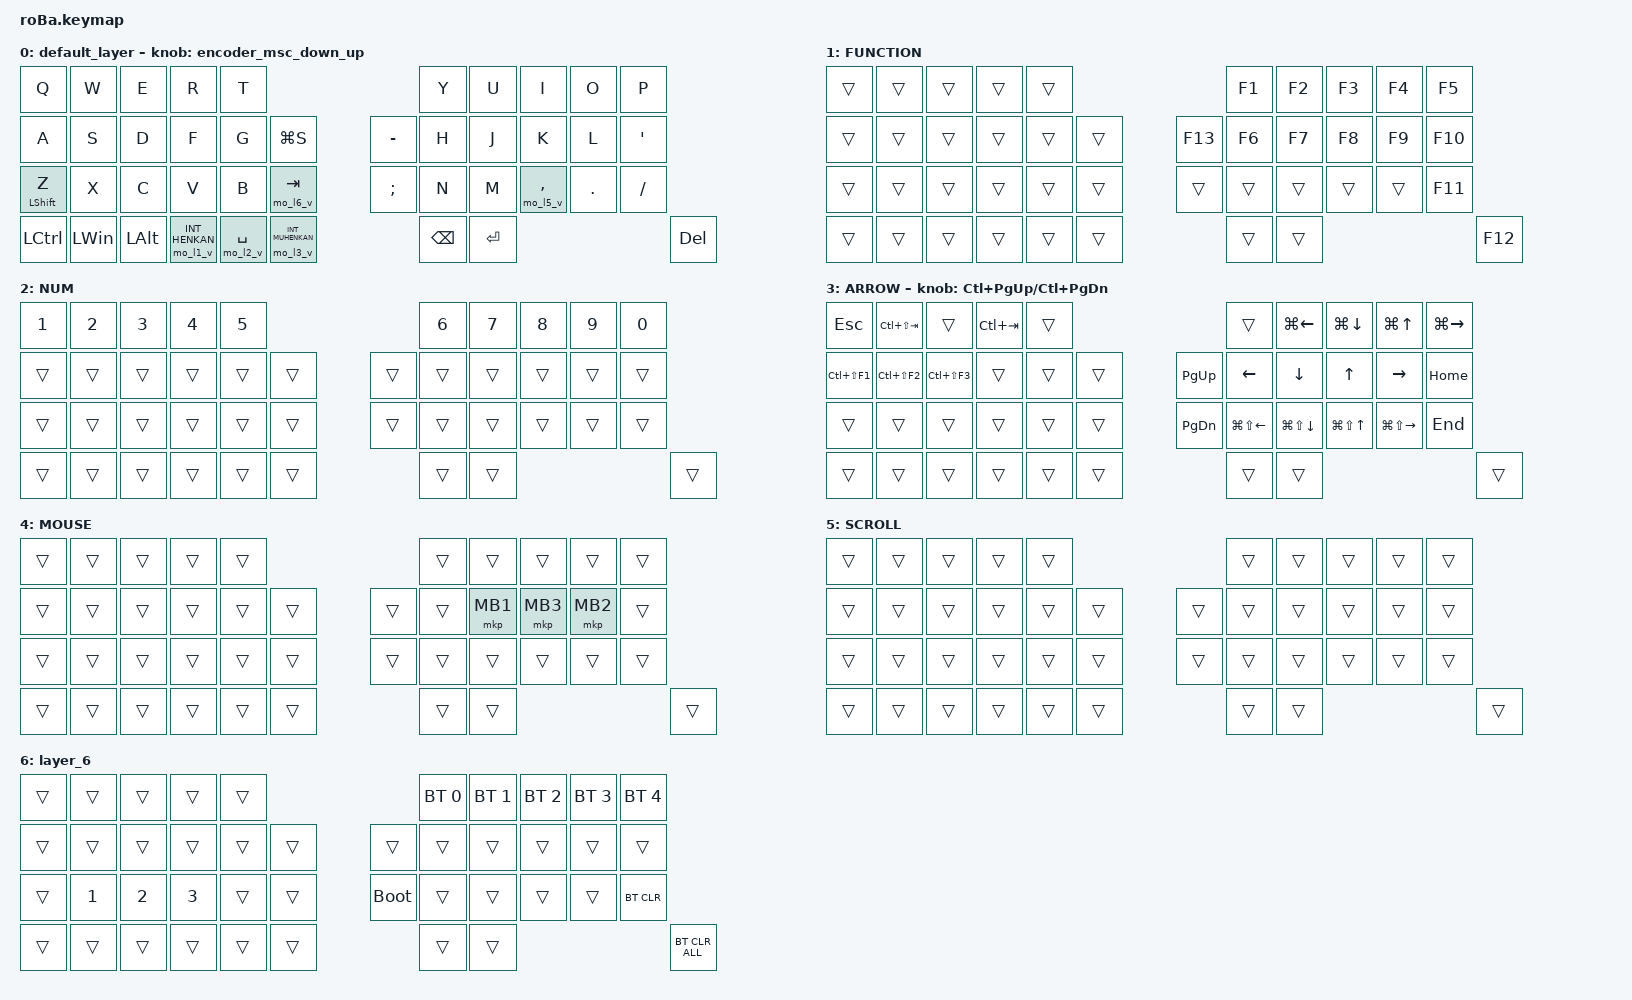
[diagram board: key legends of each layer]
#include <behaviors.dtsi>
#include <dt-bindings/zmk/bt.h>
#include <dt-bindings/zmk/keys.h>
#include <dt-bindings/zmk/pointing.h>

#define ZMK_POINTING_DEFAULT_SCRL_VAL 80

&mt {
    flavor = "balanced";
    quick-tap-ms = <0>;
};

&trackball {
    automouse-layer = <4>;
    scroll-layers = <5>;
};

/ {
    behaviors {
        encoder_msc_down_up: encoder_msc_down_up {
            compatible = "zmk,behavior-sensor-rotate";
            label = "ENCODER_MSC_DOWN_UP";
            #sensor-binding-cells = <0>;
            bindings = <&msc SCRL_DOWN>, <&msc SCRL_UP>;
            tap-ms = <20>;
        };

        // Hold 中に &mo N と F<XX> を同時に press する macro。
        // Host 側の keymap viewer は HID 経由で F-key を見て active layer を判定する。
        // F19=L1, F21=L2, F22=L3, F23=L5, F24=L6。
        // F20 は XKB evdev layout で XF86AudioMicMute に historical remap される
        //   (Hyprland bind 経由で wpctl が発火し OSD が出る) ので避ける。
        // F21-F24 は XF86Touchpad* にマップされるが Hyprland 側 bind がなく無害。
        // F19 は remap なしの素通し。L4 (auto-mouse) はドライバ経由のため対象外。
        mo_l1_v: mo_layer_1_visible {
            compatible = "zmk,behavior-macro-one-param";
            #binding-cells = <1>;
            wait-ms = <0>;
            tap-ms = <0>;
            bindings = <&macro_press &mo 1>,
                       <&macro_press &kp F19>,
                       <&macro_pause_for_release>,
                       <&macro_release &kp F19>,
                       <&macro_release &mo 1>;
        };
        mo_l2_v: mo_layer_2_visible {
            compatible = "zmk,behavior-macro-one-param";
            #binding-cells = <1>;
            wait-ms = <0>;
            tap-ms = <0>;
            bindings = <&macro_press &mo 2>,
                       <&macro_press &kp F21>,
                       <&macro_pause_for_release>,
                       <&macro_release &kp F21>,
                       <&macro_release &mo 2>;
        };
        mo_l3_v: mo_layer_3_visible {
            compatible = "zmk,behavior-macro-one-param";
            #binding-cells = <1>;
            wait-ms = <0>;
            tap-ms = <0>;
            bindings = <&macro_press &mo 3>,
                       <&macro_press &kp F22>,
                       <&macro_pause_for_release>,
                       <&macro_release &kp F22>,
                       <&macro_release &mo 3>;
        };
        mo_l5_v: mo_layer_5_visible {
            compatible = "zmk,behavior-macro-one-param";
            #binding-cells = <1>;
            wait-ms = <0>;
            tap-ms = <0>;
            bindings = <&macro_press &mo 5>,
                       <&macro_press &kp F23>,
                       <&macro_pause_for_release>,
                       <&macro_release &kp F23>,
                       <&macro_release &mo 5>;
        };
        mo_l6_v: mo_layer_6_visible {
            compatible = "zmk,behavior-macro-one-param";
            #binding-cells = <1>;
            wait-ms = <0>;
            tap-ms = <0>;
            bindings = <&macro_press &mo 6>,
                       <&macro_press &kp F24>,
                       <&macro_pause_for_release>,
                       <&macro_release &kp F24>,
                       <&macro_release &mo 6>;
        };

        // 第一引数は dummy (macro 側で無視)。第二引数が tap 時の keycode。
        // 上流 &lt と同じ flavor / tapping-term / quick-tap で挙動を維持。
        lt_v_1: layer_tap_visible_1 {
            compatible = "zmk,behavior-hold-tap";
            flavor = "tap-preferred";
            tapping-term-ms = <200>;
            quick-tap-ms = <0>;
            bindings = <&mo_l1_v>, <&kp>;
            #binding-cells = <2>;
        };
        lt_v_2: layer_tap_visible_2 {
            compatible = "zmk,behavior-hold-tap";
            flavor = "tap-preferred";
            tapping-term-ms = <200>;
            quick-tap-ms = <0>;
            bindings = <&mo_l2_v>, <&kp>;
            #binding-cells = <2>;
        };
        lt_v_3: layer_tap_visible_3 {
            compatible = "zmk,behavior-hold-tap";
            flavor = "tap-preferred";
            tapping-term-ms = <200>;
            quick-tap-ms = <0>;
            bindings = <&mo_l3_v>, <&kp>;
            #binding-cells = <2>;
        };
        lt_v_5: layer_tap_visible_5 {
            compatible = "zmk,behavior-hold-tap";
            flavor = "tap-preferred";
            tapping-term-ms = <200>;
            quick-tap-ms = <0>;
            bindings = <&mo_l5_v>, <&kp>;
            #binding-cells = <2>;
        };
        lt_v_6: layer_tap_visible_6 {
            compatible = "zmk,behavior-hold-tap";
            flavor = "tap-preferred";
            tapping-term-ms = <200>;
            quick-tap-ms = <0>;
            bindings = <&mo_l6_v>, <&kp>;
            #binding-cells = <2>;
        };
    };

    keymap {
        compatible = "zmk,keymap";

        default_layer {
            bindings = <
&kp Q             &kp W         &kp E         &kp R              &kp T                                                          &kp Y          &kp U  &kp I          &kp O    &kp P
&kp A             &kp S         &kp D         &kp F              &kp G        &kp LG(S)                          &kp MINUS      &kp H          &kp J  &kp K          &kp L    &kp SQT
&mt LEFT_SHIFT Z  &kp X         &kp C         &kp V                  &kp B            &lt_v_6 0 TAB                          &kp SEMICOLON  &kp N          &kp M  &lt_v_5 0 COMMA  &kp DOT  &kp SLASH
&kp LCTRL         &kp LEFT_WIN  &kp LEFT_ALT  &lt_v_1 0 INT_HENKAN   &lt_v_2 0 SPACE  &lt_v_3 0 INT_MUHENKAN                 &kp BACKSPACE  &kp ENTER                                          &kp DEL
            >;

            sensor-bindings = <&encoder_msc_down_up>;
        };

        FUNCTION {
            bindings = <
&trans  &trans  &trans  &trans  &trans                       &kp F1  &kp F2  &kp F3  &kp F4  &kp F5
&trans  &trans  &trans  &trans  &trans  &trans      &kp F13  &kp F6  &kp F7  &kp F8  &kp F9  &kp F10
&trans  &trans  &trans  &trans  &trans  &trans      &trans   &trans  &trans  &trans  &trans  &kp F11
&trans  &trans  &trans  &trans  &trans  &trans      &trans   &trans                          &kp F12
            >;
        };

        NUM {
            bindings = <
&kp NUMBER_1  &kp NUMBER_2  &kp NUMBER_3  &kp NUMBER_4  &kp NUMBER_5                                              &kp NUMBER_6  &kp NUMBER_7  &kp NUMBER_8  &kp NUMBER_9  &kp NUMBER_0
&trans        &trans        &trans        &trans        &trans        &trans                       &trans         &trans        &trans        &trans        &trans        &trans
&trans        &trans        &trans        &trans        &trans        &trans                       &trans         &trans        &trans        &trans        &trans        &trans
&trans        &trans        &trans        &trans        &trans        &trans                       &trans         &trans                                                  &trans
            >;
        };

        ARROW {
            bindings = <
&kp ESCAPE      &kp LC(LS(TAB))  &trans          &kp LC(TAB)  &trans                                                       &trans           &kp LG(LEFT)      &kp LG(DOWN)      &kp LG(UP)      &kp LG(RIGHT)
&kp LC(LS(F1))  &kp LC(LS(F2))   &kp LC(LS(F3))  &trans       &trans  &trans                              &kp PAGE_UP      &kp LEFT          &kp DOWN          &kp UP          &kp RIGHT          &kp HOME
&trans          &trans           &trans          &trans       &trans  &trans                              &kp PAGE_DOWN    &kp LG(LS(LEFT))  &kp LG(LS(DOWN))  &kp LG(LS(UP))  &kp LG(LS(RIGHT))  &kp END
&trans          &trans           &trans          &trans       &trans  &trans                              &trans           &trans                                                                 &trans
            >;

            sensor-bindings = <&inc_dec_kp LC(PAGE_UP) LC(PAGE_DOWN)>;
        };

        MOUSE {
            bindings = <
&trans  &trans  &trans  &trans  &trans                      &trans  &trans    &trans    &trans    &trans
&trans  &trans  &trans  &trans  &trans  &trans      &trans  &trans  &mkp MB1  &mkp MB3  &mkp MB2  &trans
&trans  &trans  &trans  &trans  &trans  &trans      &trans  &trans  &trans    &trans    &trans    &trans
&trans  &trans  &trans  &trans  &trans  &trans      &trans  &trans                                &trans
            >;
        };

        SCROLL {
            bindings = <
&trans  &trans  &trans  &trans  &trans                      &trans  &trans  &trans  &trans  &trans
&trans  &trans  &trans  &trans  &trans  &trans      &trans  &trans  &trans  &trans  &trans  &trans
&trans  &trans  &trans  &trans  &trans  &trans      &trans  &trans  &trans  &trans  &trans  &trans
&trans  &trans  &trans  &trans  &trans  &trans      &trans  &trans                          &trans
            >;
        };

        layer_6 {
            bindings = <
&trans  &trans        &trans        &trans        &trans                           &bt BT_SEL 0  &bt BT_SEL 1  &bt BT_SEL 2  &bt BT_SEL 3  &bt BT_SEL 4
&trans  &trans        &trans        &trans        &trans  &trans      &trans       &trans        &trans        &trans        &trans        &trans
&trans  &kp NUMBER_1  &kp NUMBER_2  &kp NUMBER_3  &trans  &trans      &bootloader  &trans        &trans        &trans        &trans        &bt BT_CLR
&trans  &trans        &trans        &trans        &trans  &trans      &trans       &trans                                                  &bt BT_CLR_ALL
            >;
        };
    };
};
